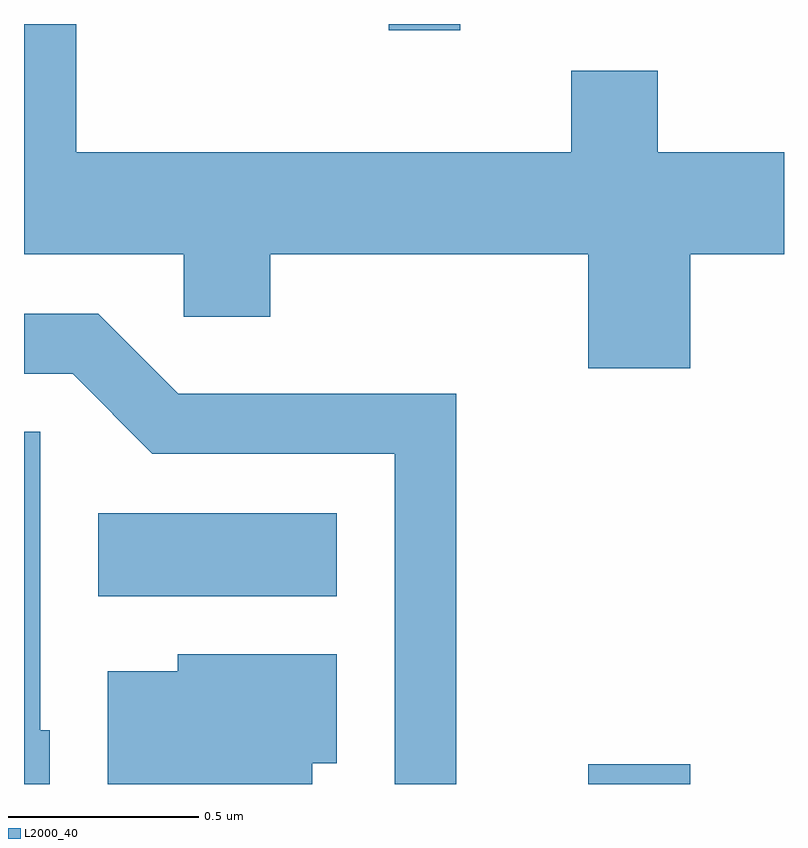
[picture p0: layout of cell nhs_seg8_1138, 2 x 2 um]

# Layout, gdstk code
import gdstk
lib = gdstk.Library(unit=1e-6, precision=1e-09)
def R(c, l, rs):  # rectangles x0, y0, x1, y1
    for r in rs: c.add(gdstk.rectangle(r[:2], r[2:], *l))
def P(c, l, *ps):  # polygons
    for p in ps: c.add(gdstk.Polygon(p, *l))
L2000_40 = (2000, 40)

nhs_seg8_1138 = lib.new_cell('nhs_seg8_1138')
R(nhs_seg8_1138, L2000_40, [(195.096,1848.342,195.364,1848.394), (193.806,1848.836,194.434,1849.054), (194.571,1850.326,194.759,1850.342)])
P(nhs_seg8_1138, L2000_40, [(195.364,1849.736),(195.611,1849.736),(195.611,1850.004),(195.279,1850.004),(195.279,1850.219),(195.051,1850.219),(195.051,1850.004),(193.749,1850.004),(193.749,1850.342),(193.611,1850.342),(193.611,1849.736),(194.031,1849.736),(194.031,1849.571),(194.259,1849.571),(194.259,1849.736),(195.096,1849.736),(195.096,1849.436),(195.364,1849.436)],
  [(194.749,1849.369),(194.017,1849.369),(193.807,1849.579),(193.611,1849.579),(193.611,1849.421),(193.739,1849.421),(193.949,1849.211),(194.586,1849.211),(194.586,1848.342),(194.749,1848.342)],
  [(193.679,1848.484),(193.654,1848.484),(193.654,1849.269),(193.611,1849.269),(193.611,1848.342),(193.679,1848.342)],
  [(194.369,1848.396),(194.434,1848.396),(194.434,1848.684),(194.016,1848.684),(194.016,1848.639),(193.831,1848.639),(193.831,1848.342),(194.369,1848.342)])

lib.write_gds('nhs_seg8_1138.gds')
